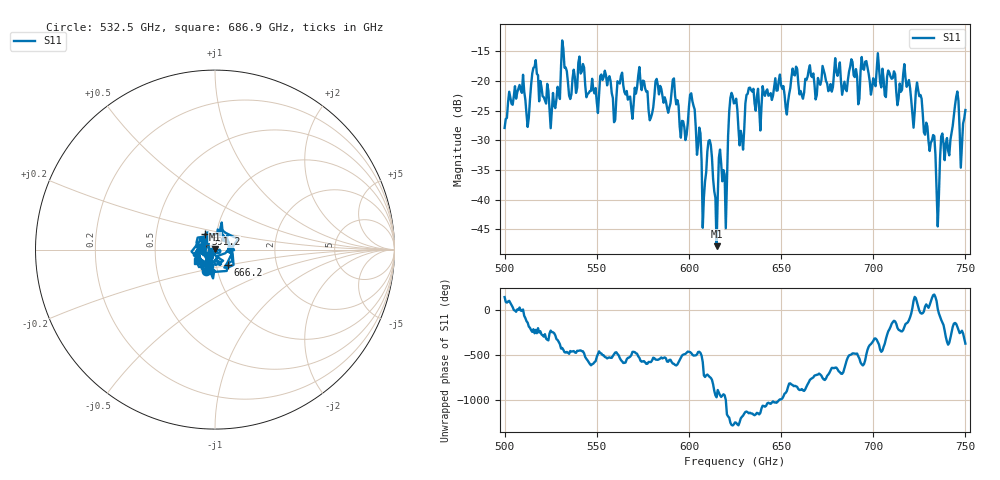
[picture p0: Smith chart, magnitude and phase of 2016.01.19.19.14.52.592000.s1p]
!Created with skrf (http://scikit-rf.org).
# GHz S RI R 50.0
!freq ReS11 ImS11
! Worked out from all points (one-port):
!   401 points, 500 GHz to 750 GHz, reference 50 ohm
!   lowest |S11| = -47.8 dB at 615 GHz (marker M1), VSWR 1.01, Z = 49.9 + j0.391 ohm
!   |S11| at or under -10 dB: start of sweep to end of sweep
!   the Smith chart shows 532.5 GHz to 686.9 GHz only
!   S11 on the Smith chart (normalised r, x): 532.5 GHz: 0.88, -0.21; 591.2 GHz: 0.89, +0.16; 666.2 GHz: 1.14, -0.19; 686.9 GHz: 0.81, -0.10
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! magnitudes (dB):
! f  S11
! 500 GHz  -27.9
! 508.8 GHz  -21.5
! 512.5 GHz  -27.8
! 516.2 GHz  -17.6
! 526.2 GHz  -22.0
! 531.2 GHz  -13.2
! 532.5 GHz  -17.8
! 562.5 GHz  -20.4
! 591.2 GHz  -19.8
! 593.8 GHz  -23.2
! 601.9 GHz  -23.4
! 608.1 GHz  -39.6
! 611.2 GHz  -30.0
! 615 GHz  -47.8
! 619.4 GHz  -35.7
! 622.5 GHz  -22.8
! 625 GHz  -23.7
! 628.8 GHz  -29.6
! 632.5 GHz  -21.2
! 656.2 GHz  -17.9
! 666.2 GHz  -19.1
! 686.9 GHz  -18.4
! 687.5 GHz  -17.6
! 718.8 GHz  -20.5
! 725 GHz  -22.6
! 735 GHz  -44.5
! 745 GHz  -22.7
! 750 GHz  -24.9
